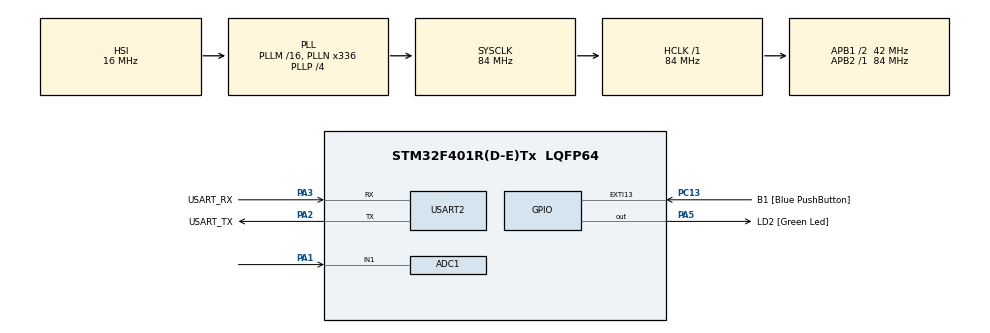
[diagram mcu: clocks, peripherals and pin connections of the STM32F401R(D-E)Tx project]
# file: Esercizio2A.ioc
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ADC1.Channel-0\#ChannelRegularConversion=ADC_CHANNEL_1
ADC1.Channel-1\#ChannelRegularConversion=ADC_CHANNEL_TEMPSENSOR
ADC1.Channel-2\#ChannelRegularConversion=ADC_CHANNEL_VREFINT
ADC1.DMAContinuousRequests=ENABLE
ADC1.ExternalTrigConv=ADC_EXTERNALTRIGCONV_T2_TRGO
ADC1.NbrOfConversion=3
ADC1.NbrOfConversionFlag=1
ADC1.Rank-0\#ChannelRegularConversion=1
ADC1.Rank-1\#ChannelRegularConversion=2
ADC1.Rank-2\#ChannelRegularConversion=3
ADC1.SamplingTime-0\#ChannelRegularConversion=ADC_SAMPLETIME_480CYCLES
ADC1.SamplingTime-1\#ChannelRegularConversion=ADC_SAMPLETIME_480CYCLES
ADC1.SamplingTime-2\#ChannelRegularConversion=ADC_SAMPLETIME_480CYCLES
ADC1.ScanConvMode=ENABLE
ADC1.master=1
Dma.ADC1.1.Direction=DMA_PERIPH_TO_MEMORY
Dma.ADC1.1.FIFOMode=DMA_FIFOMODE_DISABLE
Dma.ADC1.1.Instance=DMA2_Stream0
Dma.ADC1.1.MemDataAlignment=DMA_MDATAALIGN_HALFWORD
Dma.ADC1.1.MemInc=DMA_MINC_ENABLE
Dma.ADC1.1.Mode=DMA_CIRCULAR
Dma.ADC1.1.PeriphDataAlignment=DMA_PDATAALIGN_HALFWORD
Dma.ADC1.1.PeriphInc=DMA_PINC_DISABLE
Dma.ADC1.1.Priority=DMA_PRIORITY_HIGH
Dma.Request0=USART2_TX
Dma.Request1=ADC1
Dma.USART2_TX.0.Direction=DMA_MEMORY_TO_PERIPH
Dma.USART2_TX.0.FIFOMode=DMA_FIFOMODE_DISABLE
Dma.USART2_TX.0.Instance=DMA1_Stream6
Dma.USART2_TX.0.MemDataAlignment=DMA_MDATAALIGN_BYTE
Dma.USART2_TX.0.MemInc=DMA_MINC_ENABLE
Dma.USART2_TX.0.Mode=DMA_NORMAL
Dma.USART2_TX.0.PeriphDataAlignment=DMA_PDATAALIGN_BYTE
Dma.USART2_TX.0.PeriphInc=DMA_PINC_DISABLE
Dma.USART2_TX.0.Priority=DMA_PRIORITY_HIGH
Mcu.Family=STM32F4
Mcu.Name=STM32F401R(D-E)Tx
Mcu.Package=LQFP64
NVIC.DMA1_Stream6_IRQn=true\:0\:0\:false\:false\:true\:false\:true\:true
NVIC.DMA2_Stream0_IRQn=true\:0\:0\:false\:false\:true\:false\:true\:true
NVIC.PriorityGroup=NVIC_PRIORITYGROUP_4
NVIC.TIM2_IRQn=true\:0\:0\:false\:false\:true\:true\:true\:true
NVIC.TIM3_IRQn=true\:0\:0\:false\:false\:true\:true\:true\:true
NVIC.USART2_IRQn=true\:0\:0\:false\:false\:true\:true\:true\:true
PA1.Signal=ADCx_IN1
PA13.GPIO_Label=TMS
PA13.Mode=Trace_Asynchronous_SW
PA13.Signal=SYS_JTMS-SWDIO
PA14.GPIO_Label=TCK
PA14.Mode=Trace_Asynchronous_SW
PA14.Signal=SYS_JTCK-SWCLK
PA2.GPIO_Label=USART_TX
PA2.GPIO_Mode=GPIO_MODE_AF_PP
PA2.GPIO_PuPd=GPIO_NOPULL
PA2.GPIO_Speed=GPIO_SPEED_FREQ_LOW
PA2.Mode=Asynchronous
PA2.Signal=USART2_TX
PA3.GPIO_Label=USART_RX
PA3.GPIO_Mode=GPIO_MODE_AF_PP
PA3.GPIO_PuPd=GPIO_NOPULL
PA3.GPIO_Speed=GPIO_SPEED_FREQ_LOW
PA3.Mode=Asynchronous
PA3.Signal=USART2_RX
PA5.GPIO_Label=LD2 [Green Led]
PA5.GPIO_Mode=GPIO_MODE_OUTPUT_PP
PA5.GPIO_PuPd=GPIO_NOPULL
PA5.GPIO_Speed=GPIO_SPEED_FREQ_LOW
PA5.Signal=GPIO_Output
PB3.GPIO_Label=SWO
PB3.Mode=Trace_Asynchronous_SW
PB3.Signal=SYS_JTDO-SWO
PC13-ANTI_TAMP.GPIO_Label=B1 [Blue PushButton]
PC13-ANTI_TAMP.GPIO_ModeDefaultEXTI=GPIO_MODE_IT_FALLING
PC13-ANTI_TAMP.GPIO_PuPd=GPIO_NOPULL
PC13-ANTI_TAMP.Signal=GPXTI13
PC14-OSC32_IN.Mode=LSE-External-Oscillator
PC14-OSC32_IN.Signal=RCC_OSC32_IN
PC15-OSC32_OUT.Mode=LSE-External-Oscillator
PC15-OSC32_OUT.Signal=RCC_OSC32_OUT
PH0\ -\ OSC_IN.Mode=HSE-External-Clock-Source
PH0\ -\ OSC_IN.Signal=RCC_OSC_IN
PH1\ -\ OSC_OUT.Mode=HSE-External-Clock-Source
PH1\ -\ OSC_OUT.Signal=RCC_OSC_OUT
ProjectManager.HeapSize=0x200
ProjectManager.StackSize=0x400
ProjectManager.TargetToolchain=STM32CubeIDE
RCC.48MHZClocksFreq_Value=48000000
RCC.AHBFreq_Value=84000000
RCC.APB1CLKDivider=RCC_HCLK_DIV2
RCC.APB1Freq_Value=42000000
RCC.APB1TimFreq_Value=84000000
RCC.APB2Freq_Value=84000000
RCC.APB2TimFreq_Value=84000000
RCC.CortexFreq_Value=84000000
RCC.HCLKFreq_Value=84000000
RCC.HSE_VALUE=8000000
RCC.HSI_VALUE=16000000
RCC.PLLN=336
RCC.PLLP=RCC_PLLP_DIV4
RCC.PLLQ=7
RCC.SYSCLKFreq_VALUE=84000000
RCC.SYSCLKSource=RCC_SYSCLKSOURCE_PLLCLK
RCC.VCOOutputFreq_Value=336000000
SH.ADCx_IN1.0=ADC1_IN1,IN1
TIM2.Period=839
TIM2.Prescaler=99
TIM2.TIM_MasterOutputTrigger=TIM_TRGO_UPDATE
TIM3.Period=8399
TIM3.Prescaler=9999
USART2.VirtualMode=VM_ASYNC
VP_ADC1_TempSens_Input.Mode=IN-TempSens
VP_ADC1_Vref_Input.Mode=IN-Vrefint
VP_TIM2_VS_ClockSourceINT.Mode=Internal
VP_TIM3_VS_ClockSourceINT.Mode=Internal
board=NUCLEO-F401RE

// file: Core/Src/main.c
/* USER CODE BEGIN Header */
/**
  ******************************************************************************
  * @file           : main.c
  * @brief          : Main program body
  ******************************************************************************
  * @attention
  *
  * Copyright (c) 2026 STMicroelectronics.
  * All rights reserved.
  *
  * This software is licensed under terms that can be found in the LICENSE file
  * in the root directory of this software component.
  * If no LICENSE file comes with this software, it is provided AS-IS.
  *
  ******************************************************************************
  */
/* USER CODE END Header */
#include "main.h"

/* USER CODE BEGIN Includes */
#include "stdio.h"
#include "string.h"

/* USER CODE END Includes */

ADC_HandleTypeDef hadc1;
DMA_HandleTypeDef hdma_adc1;

TIM_HandleTypeDef htim2;
TIM_HandleTypeDef htim3;

UART_HandleTypeDef huart2;
DMA_HandleTypeDef hdma_usart2_tx;

/* USER CODE BEGIN PV */
uint16_t adc_buf[3];
float v_pot = 0.0f;
int sum[3]={0,0,0};

float v_temp_sense = 0.0f;
float temperature = 0.0f;

float v_refint = 0.0f;

uint8_t tx_buf[64];
int len;
int n_samples=0;

/* USER CODE END PV */

void SystemClock_Config(void);
static void MX_GPIO_Init(void);
static void MX_DMA_Init(void);
static void MX_USART2_UART_Init(void);
static void MX_ADC1_Init(void);
static void MX_TIM2_Init(void);
static void MX_TIM3_Init(void);

/* USER CODE BEGIN 0 */
void HAL_ADC_ConvCpltCallback(ADC_HandleTypeDef *hadc)
{

	// Il Trigger (Timer 2 a 1kHz) avvia la conversione ogni millisecondo
	// Quando arriva l'EoC accumuliamo le somme
	sum[0]+= adc_buf[0];
	sum[1]+=adc_buf[1];
	sum[2]+=adc_buf[2];

	n_samples++;

}

void HAL_TIM_PeriodElapsedCallback(TIM_HandleTypeDef *htim)
{
    if (htim->Instance == TIM3){ // Ogni secondo

    	// Converto e faccio la media
    	v_pot = ((float)sum[0] * 3.3f) / (4095.0f*(float)n_samples);
    	v_temp_sense = ((float)sum[1] * 3.3f) / (4095.0f*(float)n_samples);
    	v_refint = ((float)sum[2] * 3.3f) / (4095.0f*(float)n_samples);

    	temperature = ((v_temp_sense - 0.76f) / 0.0025f) + 25.0f;

    	// Resetto i valori
    	sum[0]=0;
    	sum[1]=0;
    	sum[2]=0;
    	n_samples=0;

    	// E invio
    	len = sprintf((char*)tx_buf, "Pot: %.2fV  Temp: %.1fC  Vref: %.2fV\r\n", v_pot, temperature, v_refint);
    	HAL_UART_Transmit_DMA(&huart2, tx_buf, len);

    }
}

/* USER CODE END 0 */

int main(void)
{

  /* MCU Configuration--------------------------------------------------------*/

  /* Reset of all peripherals, Initializes the Flash interface and the Systick. */
  HAL_Init();

  /* Configure the system clock */
  SystemClock_Config();

  /* Initialize all configured peripherals */
  MX_GPIO_Init();
  MX_DMA_Init();
  MX_USART2_UART_Init();
  MX_ADC1_Init();
  MX_TIM2_Init();
  MX_TIM3_Init();
  /* USER CODE BEGIN 2 */
  HAL_TIM_Base_Start(&htim2); // Timer 2 (Trigger ADC)
  HAL_ADC_Start_DMA(&hadc1, (uint32_t*)adc_buf, 3);   // ADC (DMA Mode), buffer da 3 campioni
  HAL_TIM_Base_Start_IT(&htim3); // Timer 3 (ISR 1Hz)

  /* USER CODE END 2 */

  /* Infinite loop */
  while (1)
  {

  }
}

void SystemClock_Config(void)
{
  RCC_OscInitTypeDef RCC_OscInitStruct = {0};
  RCC_ClkInitTypeDef RCC_ClkInitStruct = {0};

  /** Configure the main internal regulator output voltage
  */
  __HAL_RCC_PWR_CLK_ENABLE();
  __HAL_PWR_VOLTAGESCALING_CONFIG(PWR_REGULATOR_VOLTAGE_SCALE2);

  /** Initializes the RCC Oscillators according to the specified parameters
  * in the RCC_OscInitTypeDef structure.
  */
  RCC_OscInitStruct.OscillatorType = RCC_OSCILLATORTYPE_HSI;
  RCC_OscInitStruct.HSIState = RCC_HSI_ON;
  RCC_OscInitStruct.HSICalibrationValue = RCC_HSICALIBRATION_DEFAULT;
  RCC_OscInitStruct.PLL.PLLState = RCC_PLL_ON;
  RCC_OscInitStruct.PLL.PLLSource = RCC_PLLSOURCE_HSI;
  RCC_OscInitStruct.PLL.PLLM = 16;
  RCC_OscInitStruct.PLL.PLLN = 336;
  RCC_OscInitStruct.PLL.PLLP = RCC_PLLP_DIV4;
  RCC_OscInitStruct.PLL.PLLQ = 7;
  if (HAL_RCC_OscConfig(&RCC_OscInitStruct) != HAL_OK)
  {
    Error_Handler();
  }

  /** Initializes the CPU, AHB and APB buses clocks
  */
  RCC_ClkInitStruct.ClockType = RCC_CLOCKTYPE_HCLK|RCC_CLOCKTYPE_SYSCLK
                              |RCC_CLOCKTYPE_PCLK1|RCC_CLOCKTYPE_PCLK2;
  RCC_ClkInitStruct.SYSCLKSource = RCC_SYSCLKSOURCE_PLLCLK;
  RCC_ClkInitStruct.AHBCLKDivider = RCC_SYSCLK_DIV1;
  RCC_ClkInitStruct.APB1CLKDivider = RCC_HCLK_DIV2;
  RCC_ClkInitStruct.APB2CLKDivider = RCC_HCLK_DIV1;

  if (HAL_RCC_ClockConfig(&RCC_ClkInitStruct, FLASH_LATENCY_2) != HAL_OK)
  {
    Error_Handler();
  }
}

static void MX_ADC1_Init(void)
{

  ADC_ChannelConfTypeDef sConfig = {0};

  /** Configure the global features of the ADC (Clock, Resolution, Data Alignment and number of conversion)
  */
  hadc1.Instance = ADC1;
  hadc1.Init.ClockPrescaler = ADC_CLOCK_SYNC_PCLK_DIV4;
  hadc1.Init.Resolution = ADC_RESOLUTION_12B;
  hadc1.Init.ScanConvMode = ENABLE;
  hadc1.Init.ContinuousConvMode = DISABLE;
  hadc1.Init.DiscontinuousConvMode = DISABLE;
  hadc1.Init.ExternalTrigConvEdge = ADC_EXTERNALTRIGCONVEDGE_RISING;
  hadc1.Init.ExternalTrigConv = ADC_EXTERNALTRIGCONV_T2_TRGO;
  hadc1.Init.DataAlign = ADC_DATAALIGN_RIGHT;
  hadc1.Init.NbrOfConversion = 3;
  hadc1.Init.DMAContinuousRequests = ENABLE;
  hadc1.Init.EOCSelection = ADC_EOC_SINGLE_CONV;
  if (HAL_ADC_Init(&hadc1) != HAL_OK)
  {
    Error_Handler();
  }

  /** Configure for the selected ADC regular channel its corresponding rank in the sequencer and its sample time.
  */
  sConfig.Channel = ADC_CHANNEL_1;
  sConfig.Rank = 1;
  sConfig.SamplingTime = ADC_SAMPLETIME_480CYCLES;
  if (HAL_ADC_ConfigChannel(&hadc1, &sConfig) != HAL_OK)
  {
    Error_Handler();
  }

  /** Configure for the selected ADC regular channel its corresponding rank in the sequencer and its sample time.
  */
  sConfig.Channel = ADC_CHANNEL_TEMPSENSOR;
  sConfig.Rank = 2;
  if (HAL_ADC_ConfigChannel(&hadc1, &sConfig) != HAL_OK)
  {
    Error_Handler();
  }

  /** Configure for the selected ADC regular channel its corresponding rank in the sequencer and its sample time.
  */
  sConfig.Channel = ADC_CHANNEL_VREFINT;
  sConfig.Rank = 3;
  if (HAL_ADC_ConfigChannel(&hadc1, &sConfig) != HAL_OK)
  {
    Error_Handler();
  }

}

static void MX_TIM2_Init(void)
{

  TIM_ClockConfigTypeDef sClockSourceConfig = {0};
  TIM_MasterConfigTypeDef sMasterConfig = {0};

  htim2.Instance = TIM2;
  htim2.Init.Prescaler = 99;
  htim2.Init.CounterMode = TIM_COUNTERMODE_UP;
  htim2.Init.Period = 839;
  htim2.Init.ClockDivision = TIM_CLOCKDIVISION_DIV1;
  htim2.Init.AutoReloadPreload = TIM_AUTORELOAD_PRELOAD_DISABLE;
  if (HAL_TIM_Base_Init(&htim2) != HAL_OK)
  {
    Error_Handler();
  }
  sClockSourceConfig.ClockSource = TIM_CLOCKSOURCE_INTERNAL;
  if (HAL_TIM_ConfigClockSource(&htim2, &sClockSourceConfig) != HAL_OK)
  {
    Error_Handler();
  }
  sMasterConfig.MasterOutputTrigger = TIM_TRGO_UPDATE;
  sMasterConfig.MasterSlaveMode = TIM_MASTERSLAVEMODE_DISABLE;
  if (HAL_TIMEx_MasterConfigSynchronization(&htim2, &sMasterConfig) != HAL_OK)
  {
    Error_Handler();
  }

}

static void MX_TIM3_Init(void)
{

  TIM_ClockConfigTypeDef sClockSourceConfig = {0};
  TIM_MasterConfigTypeDef sMasterConfig = {0};

  htim3.Instance = TIM3;
  htim3.Init.Prescaler = 9999;
  htim3.Init.CounterMode = TIM_COUNTERMODE_UP;
  htim3.Init.Period = 8399;
  htim3.Init.ClockDivision = TIM_CLOCKDIVISION_DIV1;
  htim3.Init.AutoReloadPreload = TIM_AUTORELOAD_PRELOAD_DISABLE;
  if (HAL_TIM_Base_Init(&htim3) != HAL_OK)
  {
    Error_Handler();
  }
  sClockSourceConfig.ClockSource = TIM_CLOCKSOURCE_INTERNAL;
  if (HAL_TIM_ConfigClockSource(&htim3, &sClockSourceConfig) != HAL_OK)
  {
    Error_Handler();
  }
  sMasterConfig.MasterOutputTrigger = TIM_TRGO_RESET;
  sMasterConfig.MasterSlaveMode = TIM_MASTERSLAVEMODE_DISABLE;
  if (HAL_TIMEx_MasterConfigSynchronization(&htim3, &sMasterConfig) != HAL_OK)
  {
    Error_Handler();
  }

}

static void MX_USART2_UART_Init(void)
{

  huart2.Instance = USART2;
  huart2.Init.BaudRate = 115200;
  huart2.Init.WordLength = UART_WORDLENGTH_8B;
  huart2.Init.StopBits = UART_STOPBITS_1;
  huart2.Init.Parity = UART_PARITY_NONE;
  huart2.Init.Mode = UART_MODE_TX_RX;
  huart2.Init.HwFlowCtl = UART_HWCONTROL_NONE;
  huart2.Init.OverSampling = UART_OVERSAMPLING_16;
  if (HAL_UART_Init(&huart2) != HAL_OK)
  {
    Error_Handler();
  }

}

static void MX_DMA_Init(void)
{

  /* DMA controller clock enable */
  __HAL_RCC_DMA1_CLK_ENABLE();
  __HAL_RCC_DMA2_CLK_ENABLE();

  /* DMA interrupt init */
  /* DMA1_Stream6_IRQn interrupt configuration */
  HAL_NVIC_SetPriority(DMA1_Stream6_IRQn, 0, 0);
  HAL_NVIC_EnableIRQ(DMA1_Stream6_IRQn);
  /* DMA2_Stream0_IRQn interrupt configuration */
  HAL_NVIC_SetPriority(DMA2_Stream0_IRQn, 0, 0);
  HAL_NVIC_EnableIRQ(DMA2_Stream0_IRQn);

}

static void MX_GPIO_Init(void)
{
  GPIO_InitTypeDef GPIO_InitStruct = {0};

  /* GPIO Ports Clock Enable */
  __HAL_RCC_GPIOC_CLK_ENABLE();
  __HAL_RCC_GPIOH_CLK_ENABLE();
  __HAL_RCC_GPIOA_CLK_ENABLE();
  __HAL_RCC_GPIOB_CLK_ENABLE();

  /*Configure GPIO pin Output Level */
  HAL_GPIO_WritePin(LD2_GPIO_Port, LD2_Pin, GPIO_PIN_RESET);

  /*Configure GPIO pin : B1_Pin */
  GPIO_InitStruct.Pin = B1_Pin;
  GPIO_InitStruct.Mode = GPIO_MODE_IT_FALLING;
  GPIO_InitStruct.Pull = GPIO_NOPULL;
  HAL_GPIO_Init(B1_GPIO_Port, &GPIO_InitStruct);

  /*Configure GPIO pin : LD2_Pin */
  GPIO_InitStruct.Pin = LD2_Pin;
  GPIO_InitStruct.Mode = GPIO_MODE_OUTPUT_PP;
  GPIO_InitStruct.Pull = GPIO_NOPULL;
  GPIO_InitStruct.Speed = GPIO_SPEED_FREQ_LOW;
  HAL_GPIO_Init(LD2_GPIO_Port, &GPIO_InitStruct);

}

void Error_Handler(void)
{
  __disable_irq();
  while (1)
  {
  }
}
